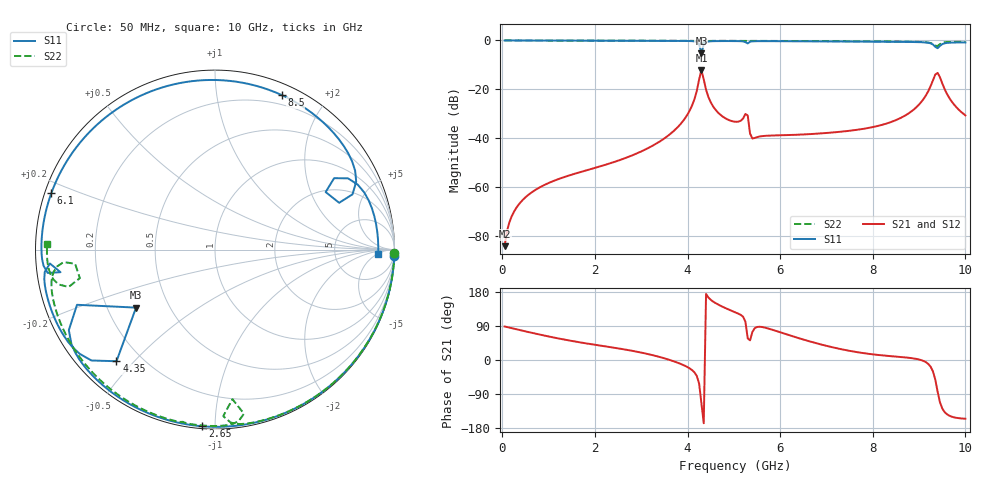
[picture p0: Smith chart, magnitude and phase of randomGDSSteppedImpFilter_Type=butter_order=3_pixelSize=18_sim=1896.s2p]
! freq	dB(S11)	phase(S11)	dB(S12)	phase(S12)
!  dB(S21)	phase(S21)	dB(S22)	phase(S22)
!S-par simulation data
#  GHz  S  DB  R 50
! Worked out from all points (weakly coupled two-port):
!   200 points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, 50 MHz to 10 GHz, reference 50 ohm
!   highest |S21| = -12.07 dB at 4.3 GHz (marker M1); lowest = -84.0 dB at 50 MHz (marker M2)
!   lowest |S11| = -5.3 dB at 4.3 GHz (marker M3), VSWR 3.40, Z = 16.1 - j14.8 ohm
!   |S11| at or under -10 dB: nowhere
!   |S22| runs from -2.3 to 0.0 dB; largest |S21 - S12| = 0
!   S11 on the Smith chart (normalised r, x): 50 MHz: 1, -60; 2.65 GHz: 0.01, -0.93; 4.35 GHz: 0.11, -0.45; 6.1 GHz: 0.02, +0.17; 8.5 GHz: 0.11, +1.51; 10 GHz: 19, -6
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0.05  -0.00 -1.9  -83.95 88.5  -83.95 88.5  -0.00 -1.0
0.25  -0.01 -9.4  -69.98 82.7  -69.98 82.7  -0.01 -5.2
0.55  -0.02 -20.6  -63.20 74.1  -63.20 74.1  -0.01 -11.3
1.75  -0.08 -63.8  -53.36 45.1  -53.36 45.1  -0.04 -35.5
2.65  -0.11 -94.1  -48.04 27.6  -48.04 27.6  -0.07 -53.1
3.4  -0.15 -118.3  -41.24 7.9  -41.24 7.9  -0.09 -67.4
4  -0.22 -138.9  -30.19 -18.7  -30.19 -18.7  -0.13 -79.2
4.25  -1.64 -158.2  -15.94 -62.1  -15.94 -62.1  -0.64 -87.2
4.3  -5.26 -143.7  -12.07 -115.7  -12.07 -115.7  -1.53 -83.4
4.35  -1.62 -131.4  -15.91 -166.9  -15.91 -166.9  -0.64 -80.0
4.6  -0.27 -150.1  -28.16 150.5  -28.16 150.5  -0.16 -87.6
5.05  -0.26 -166.4  -33.20 124.8  -33.20 124.8  -0.16 -96.3
5.3  -1.21 -171.7  -30.61 56.9  -30.61 56.9  -0.21 -100.6
5.4  -0.36 -174.6  -40.01 73.7  -40.01 73.7  -0.17 -102.3
6.1  -0.31 161.0  -38.66 69.2  -38.66 69.2  -0.21 -114.6
6.7  -0.36 140.3  -38.15 47.0  -38.15 47.0  -0.25 -124.8
8.35  -0.54 73.7  -33.58 10.5  -33.58 10.5  -0.41 -153.7
8.5  -0.56 66.7  -32.51 9.0  -32.51 9.0  -0.43 -156.5
9.2  -0.95 29.4  -20.64 -10.6  -20.64 -10.6  -0.85 -172.2
9.4  -3.16 27.5  -13.24 -83.4  -13.24 -83.4  -2.27 -168.1
9.65  -0.92 17.7  -23.39 -146.8  -23.39 -146.8  -0.61 -173.1
10  -0.82 -1.7  -30.60 -154.9  -30.60 -154.9  -0.58 178.0
